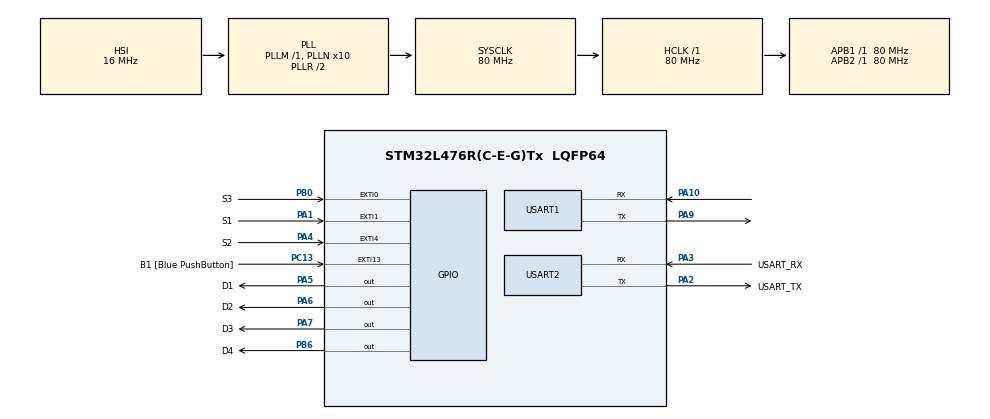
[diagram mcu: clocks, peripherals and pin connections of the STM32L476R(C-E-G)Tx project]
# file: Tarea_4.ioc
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Mcu.Family=STM32L4
Mcu.Name=STM32L476R(C-E-G)Tx
Mcu.Package=LQFP64
NVIC.PriorityGroup=NVIC_PRIORITYGROUP_4
PA1.GPIO_Label=S1
PA1.Signal=GPXTI1
PA10.Mode=Asynchronous
PA10.Signal=USART1_RX
PA13\ (JTMS-SWDIO).GPIO_Label=TMS
PA13\ (JTMS-SWDIO).Mode=Serial_Wire
PA13\ (JTMS-SWDIO).Signal=SYS_JTMS-SWDIO
PA14\ (JTCK-SWCLK).GPIO_Label=TCK
PA14\ (JTCK-SWCLK).Mode=Serial_Wire
PA14\ (JTCK-SWCLK).Signal=SYS_JTCK-SWCLK
PA2.GPIO_Label=USART_TX
PA2.GPIO_Mode=GPIO_MODE_AF_PP
PA2.GPIO_PuPd=GPIO_NOPULL
PA2.GPIO_Speed=GPIO_SPEED_FREQ_VERY_HIGH
PA2.Mode=Asynchronous
PA2.Signal=USART2_TX
PA3.GPIO_Label=USART_RX
PA3.GPIO_Mode=GPIO_MODE_AF_PP
PA3.GPIO_PuPd=GPIO_NOPULL
PA3.GPIO_Speed=GPIO_SPEED_FREQ_VERY_HIGH
PA3.Mode=Asynchronous
PA3.Signal=USART2_RX
PA4.GPIO_Label=S2
PA4.Signal=GPXTI4
PA5.GPIO_Label=D1
PA5.GPIO_ModeDefaultOutputPP=GPIO_MODE_OUTPUT_PP
PA5.GPIO_PuPd=GPIO_NOPULL
PA5.GPIO_Speed=GPIO_SPEED_FREQ_LOW
PA5.Signal=GPIO_Output
PA6.GPIO_Label=D2
PA6.Signal=GPIO_Output
PA7.GPIO_Label=D3
PA7.Signal=GPIO_Output
PA9.Mode=Asynchronous
PA9.Signal=USART1_TX
PB0.GPIO_Label=S3
PB0.Signal=GPXTI0
PB3\ (JTDO-TRACESWO).GPIO_Label=SWO
PB3\ (JTDO-TRACESWO).Signal=SYS_JTDO-SWO
PB6.GPIO_Label=D4
PB6.Signal=GPIO_Output
PC13.GPIO_Label=B1 [Blue PushButton]
PC13.GPIO_ModeDefaultEXTI=GPIO_MODE_IT_FALLING
PC13.GPIO_PuPd=GPIO_NOPULL
PC13.Signal=GPXTI13
PC14-OSC32_IN\ (PC14).Mode=LSE-External-Oscillator
PC14-OSC32_IN\ (PC14).Signal=RCC_OSC32_IN
PC15-OSC32_OUT\ (PC15).Mode=LSE-External-Oscillator
PC15-OSC32_OUT\ (PC15).Signal=RCC_OSC32_OUT
PH0-OSC_IN\ (PH0).Signal=RCC_OSC_IN
PH1-OSC_OUT\ (PH1).Signal=RCC_OSC_OUT
ProjectManager.HeapSize=0x200
ProjectManager.StackSize=0x400
ProjectManager.TargetToolchain=STM32CubeIDE
RCC.ADCFreq_Value=64000000
RCC.AHBFreq_Value=80000000
RCC.APB1Freq_Value=80000000
RCC.APB1TimFreq_Value=80000000
RCC.APB2Freq_Value=80000000
RCC.APB2TimFreq_Value=80000000
RCC.CortexFreq_Value=80000000
RCC.HCLKFreq_Value=80000000
RCC.HSE_VALUE=8000000
RCC.HSI_VALUE=16000000
RCC.MSI_VALUE=4000000
RCC.PLLN=10
RCC.PLLSourceVirtual=RCC_PLLSOURCE_HSI
RCC.PREFETCH_ENABLE=1
RCC.SYSCLKFreq_VALUE=80000000
RCC.SYSCLKSource=RCC_SYSCLKSOURCE_PLLCLK
RCC.USBFreq_Value=64000000
RCC.VCOOutputFreq_Value=160000000
USART1.VirtualMode-Asynchronous=VM_ASYNC
USART2.VirtualMode-Asynchronous=VM_ASYNC
board=NUCLEO-L476RG

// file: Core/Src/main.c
/* USER CODE BEGIN Header */
/**
  ******************************************************************************
  * @file           : main.c
  * @brief          : Main program body
  ******************************************************************************
  * @attention
  *
  * Copyright (c) 2024 STMicroelectronics.
  * All rights reserved.
  *
  * This software is licensed under terms that can be found in the LICENSE file
  * in the root directory of this software component.
  * If no LICENSE file comes with this software, it is provided AS-IS.
  *
  ******************************************************************************
  */
/* USER CODE END Header */
#include "main.h"

/* USER CODE BEGIN Includes */
#include <string.h>
#include "ring_buffer.h"
/* USER CODE END Includes */

UART_HandleTypeDef huart1;
UART_HandleTypeDef huart2;

/* USER CODE BEGIN PV */

uint32_t left_toggles = 0;
uint32_t right_toggles = 0;
uint32_t hazard_toggles = 0;

volatile uint8_t left_flag = 0;
volatile uint8_t right_flag = 0;
volatile uint8_t hazard_flag = 0;

/* Variables para el Ring Buffer */
#define BUFFER_CAPACITY (20)

// Buffer de datos Uart1
uint8_t ring_buffer_1_data[BUFFER_CAPACITY];
uint8_t ring_buffer_2_data[BUFFER_CAPACITY];
RingBuffer ring_buffer_1;
static uint8_t data_1;

// Buffer de datos Uart2
uint8_t ring_buffer_2_data[BUFFER_CAPACITY];
RingBuffer ring_buffer_2;
static uint8_t data_2;

volatile uint8_t data_ready = 0;

// Mi ID
#define MY_ID "1087705844"
#define MY_NAME "Jonny Sinisterra"
/* USER CODE END PV */

void SystemClock_Config(void);
static void MX_GPIO_Init(void);
static void MX_USART2_UART_Init(void);
static void MX_USART1_UART_Init(void);

/* USER CODE BEGIN 0 */

void turn_signal_left(void){
    static uint32_t turn_toggle_tick = 0;
    static uint8_t blink_count = 0;  // Variable para contar el número de parpadeos
    if (blink_count < 6) {  // Parpadea solo si no se han completado los tres parpadeos
        if (turn_toggle_tick < HAL_GetTick()){
            turn_toggle_tick =  HAL_GetTick() + 670;
            HAL_GPIO_TogglePin(D3_GPIO_Port,D3_Pin);
            blink_count++;  // Incrementa el contador de parpadeos
        }
    }
}

void turn_signal_right(void){
    static uint32_t turn_toggle_tick = 0;
    static uint8_t blink_count = 0;  // Variable para contar el número de parpadeos
    if (blink_count < 6) {  // Parpadea solo si no se han completado los tres parpadeos
        if (turn_toggle_tick < HAL_GetTick()){
            turn_toggle_tick =  HAL_GetTick() + 670;
            HAL_GPIO_TogglePin(D4_GPIO_Port,D4_Pin);
            blink_count++;  // Incrementa el contador de parpadeos
        }
    }
}

void turn_signal_hazard(void){
    static uint32_t turn_toggle_tick = 0;
    static uint8_t blink_count = 0;  // Variable para contar el número de parpadeos
    if (blink_count < 6) {  // Parpadea solo si no se han completado los tres parpadeos
        if (turn_toggle_tick < HAL_GetTick()){
            turn_toggle_tick =  HAL_GetTick() + 670;
            HAL_GPIO_TogglePin(D3_GPIO_Port,D3_Pin);
            HAL_GPIO_TogglePin(D4_GPIO_Port,D4_Pin);
            HAL_GPIO_TogglePin(D1_GPIO_Port,D1_Pin);
            blink_count++;  // Incrementa el contador de parpadeos
        }
    }
}

void HAL_UART_RxCpltCallback(UART_HandleTypeDef *huart) {
  if(huart->Instance == USART1){
    ring_buffer_put(&ring_buffer_1, data_1);
    HAL_UART_Receive_IT(&huart1, &data_1, 1);
  } else

	if (huart->Instance == USART2) {
        ring_buffer_put(&ring_buffer_2, data_2);
        HAL_UART_Receive_IT(&huart2, &data_2, 1);
    }
}

void HAL_GPIO_EXTI_Callback(uint16_t GPIO_Pin)
{
  //UNUSED(GPIO_Pin);
  if (GPIO_Pin==S1_Pin){// LEFT
	  HAL_UART_Transmit(&huart2, (uint8_t*)"LEFT\r\n", 6, 10);
	  left_flag = 1;
  } else if (GPIO_Pin==S3_Pin){//RIGHT
	  HAL_UART_Transmit(&huart2, (uint8_t*)"RIGHT\r\n", 7, 10);
	  right_flag = 1;
  } else if (GPIO_Pin==S2_Pin){//HAZARD
	  HAL_UART_Transmit(&huart2, (uint8_t*)"HAZARD\r\n",8, HAL_MAX_DELAY);
	  hazard_flag = 1;
  }

}

void hearbeat(void){
	static uint32_t heartbeat_tick =0;
	if (heartbeat_tick < HAL_GetTick()){
		heartbeat_tick =  HAL_GetTick()+1000;
		HAL_GPIO_TogglePin(D1_GPIO_Port,D1_Pin);
	}
}

/* USER CODE END 0 */

int main(void)
{

  /* MCU Configuration--------------------------------------------------------*/

  /* Reset of all peripherals, Initializes the Flash interface and the Systick. */
  HAL_Init();

  /* Configure the system clock */
  SystemClock_Config();

  /* Initialize all configured peripherals */
  MX_GPIO_Init();
  MX_USART2_UART_Init();
  MX_USART1_UART_Init();

  /* Infinite loop */
  /* USER CODE BEGIN WHILE */
  ring_buffer_init(&ring_buffer_2, ring_buffer_2_data, BUFFER_CAPACITY);
  HAL_UART_Receive_IT(&huart2, &data_2, 1);// Inicializar la recepción de datos por interrupción
  HAL_UART_Receive_IT(&huart1, &data_2, 1);// Inicializar la recepción de datos por interrupción

  while (1)
  {
    /* USER CODE END WHILE */
	  hearbeat();
	  if (ring_buffer_is_full(&ring_buffer_2) != 0) {
	      data_ready = ring_buffer_get(&ring_buffer_2, &data_2);
	          int8_t id_incorrect = 0;
	          char my_id[] = MY_ID;
	          for(uint8_t idx =0; idx < sizeof(my_id); idx++){
	            if(ring_buffer_get(&ring_buffer_2, &data_2) != 0){
	              if (data_2 != my_id[idx]){
	                  id_incorrect = 1;
	              }
	            }
	          }
	          if(id_incorrect == 0){
	              HAL_UART_Transmit(&huart2, (uint8_t*)MY_NAME, strlen(MY_NAME), HAL_MAX_DELAY);
	          } else {
	              HAL_UART_Transmit(&huart2, (uint8_t*)"ID incorrecto\r\n", 15, HAL_MAX_DELAY);
	          }
	      }
  }
}

void SystemClock_Config(void)
{
  RCC_OscInitTypeDef RCC_OscInitStruct = {0};
  RCC_ClkInitTypeDef RCC_ClkInitStruct = {0};

  /** Configure the main internal regulator output voltage
  */
  if (HAL_PWREx_ControlVoltageScaling(PWR_REGULATOR_VOLTAGE_SCALE1) != HAL_OK)
  {
    Error_Handler();
  }

  /** Initializes the RCC Oscillators according to the specified parameters
  * in the RCC_OscInitTypeDef structure.
  */
  RCC_OscInitStruct.OscillatorType = RCC_OSCILLATORTYPE_HSI;
  RCC_OscInitStruct.HSIState = RCC_HSI_ON;
  RCC_OscInitStruct.HSICalibrationValue = RCC_HSICALIBRATION_DEFAULT;
  RCC_OscInitStruct.PLL.PLLState = RCC_PLL_ON;
  RCC_OscInitStruct.PLL.PLLSource = RCC_PLLSOURCE_HSI;
  RCC_OscInitStruct.PLL.PLLM = 1;
  RCC_OscInitStruct.PLL.PLLN = 10;
  RCC_OscInitStruct.PLL.PLLP = RCC_PLLP_DIV7;
  RCC_OscInitStruct.PLL.PLLQ = RCC_PLLQ_DIV2;
  RCC_OscInitStruct.PLL.PLLR = RCC_PLLR_DIV2;
  if (HAL_RCC_OscConfig(&RCC_OscInitStruct) != HAL_OK)
  {
    Error_Handler();
  }

  /** Initializes the CPU, AHB and APB buses clocks
  */
  RCC_ClkInitStruct.ClockType = RCC_CLOCKTYPE_HCLK|RCC_CLOCKTYPE_SYSCLK
                              |RCC_CLOCKTYPE_PCLK1|RCC_CLOCKTYPE_PCLK2;
  RCC_ClkInitStruct.SYSCLKSource = RCC_SYSCLKSOURCE_PLLCLK;
  RCC_ClkInitStruct.AHBCLKDivider = RCC_SYSCLK_DIV1;
  RCC_ClkInitStruct.APB1CLKDivider = RCC_HCLK_DIV1;
  RCC_ClkInitStruct.APB2CLKDivider = RCC_HCLK_DIV1;

  if (HAL_RCC_ClockConfig(&RCC_ClkInitStruct, FLASH_LATENCY_4) != HAL_OK)
  {
    Error_Handler();
  }
}

static void MX_USART1_UART_Init(void)
{

  huart1.Instance = USART1;
  huart1.Init.BaudRate = 115200;
  huart1.Init.WordLength = UART_WORDLENGTH_8B;
  huart1.Init.StopBits = UART_STOPBITS_1;
  huart1.Init.Parity = UART_PARITY_NONE;
  huart1.Init.Mode = UART_MODE_TX_RX;
  huart1.Init.HwFlowCtl = UART_HWCONTROL_NONE;
  huart1.Init.OverSampling = UART_OVERSAMPLING_16;
  huart1.Init.OneBitSampling = UART_ONE_BIT_SAMPLE_DISABLE;
  huart1.AdvancedInit.AdvFeatureInit = UART_ADVFEATURE_NO_INIT;
  if (HAL_UART_Init(&huart1) != HAL_OK)
  {
    Error_Handler();
  }

}

static void MX_USART2_UART_Init(void)
{

  huart2.Instance = USART2;
  huart2.Init.BaudRate = 115200;
  huart2.Init.WordLength = UART_WORDLENGTH_8B;
  huart2.Init.StopBits = UART_STOPBITS_1;
  huart2.Init.Parity = UART_PARITY_NONE;
  huart2.Init.Mode = UART_MODE_TX_RX;
  huart2.Init.HwFlowCtl = UART_HWCONTROL_NONE;
  huart2.Init.OverSampling = UART_OVERSAMPLING_16;
  huart2.Init.OneBitSampling = UART_ONE_BIT_SAMPLE_DISABLE;
  huart2.AdvancedInit.AdvFeatureInit = UART_ADVFEATURE_NO_INIT;
  if (HAL_UART_Init(&huart2) != HAL_OK)
  {
    Error_Handler();
  }

}

static void MX_GPIO_Init(void)
{
  GPIO_InitTypeDef GPIO_InitStruct = {0};

  /* GPIO Ports Clock Enable */
  __HAL_RCC_GPIOC_CLK_ENABLE();
  __HAL_RCC_GPIOH_CLK_ENABLE();
  __HAL_RCC_GPIOA_CLK_ENABLE();
  __HAL_RCC_GPIOB_CLK_ENABLE();

  /*Configure GPIO pin Output Level */
  HAL_GPIO_WritePin(GPIOA, D1_Pin|D2_Pin|D3_Pin, GPIO_PIN_RESET);

  /*Configure GPIO pin Output Level */
  HAL_GPIO_WritePin(D4_GPIO_Port, D4_Pin, GPIO_PIN_RESET);

  /*Configure GPIO pin : B1_Pin */
  GPIO_InitStruct.Pin = B1_Pin;
  GPIO_InitStruct.Mode = GPIO_MODE_IT_FALLING;
  GPIO_InitStruct.Pull = GPIO_NOPULL;
  HAL_GPIO_Init(B1_GPIO_Port, &GPIO_InitStruct);

  /*Configure GPIO pins : S1_Pin S2_Pin */
  GPIO_InitStruct.Pin = S1_Pin|S2_Pin;
  GPIO_InitStruct.Mode = GPIO_MODE_IT_RISING;
  GPIO_InitStruct.Pull = GPIO_NOPULL;
  HAL_GPIO_Init(GPIOA, &GPIO_InitStruct);

  /*Configure GPIO pins : D1_Pin D2_Pin D3_Pin */
  GPIO_InitStruct.Pin = D1_Pin|D2_Pin|D3_Pin;
  GPIO_InitStruct.Mode = GPIO_MODE_OUTPUT_PP;
  GPIO_InitStruct.Pull = GPIO_NOPULL;
  GPIO_InitStruct.Speed = GPIO_SPEED_FREQ_LOW;
  HAL_GPIO_Init(GPIOA, &GPIO_InitStruct);

  /*Configure GPIO pin : S3_Pin */
  GPIO_InitStruct.Pin = S3_Pin;
  GPIO_InitStruct.Mode = GPIO_MODE_IT_RISING;
  GPIO_InitStruct.Pull = GPIO_NOPULL;
  HAL_GPIO_Init(S3_GPIO_Port, &GPIO_InitStruct);

  /*Configure GPIO pin : D4_Pin */
  GPIO_InitStruct.Pin = D4_Pin;
  GPIO_InitStruct.Mode = GPIO_MODE_OUTPUT_PP;
  GPIO_InitStruct.Pull = GPIO_NOPULL;
  GPIO_InitStruct.Speed = GPIO_SPEED_FREQ_LOW;
  HAL_GPIO_Init(D4_GPIO_Port, &GPIO_InitStruct);

}

void Error_Handler(void)
{
  __disable_irq();
  while (1)
  {
  }
}
